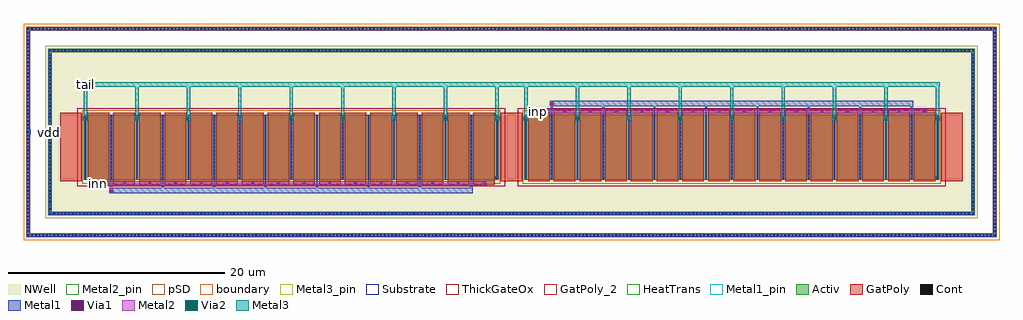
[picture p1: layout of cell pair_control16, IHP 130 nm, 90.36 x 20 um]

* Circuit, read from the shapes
.subckt pair_control16 fn fp inn inp tail vdd vss
XM1 fn inn tail vdd sg13_hv_pmos w=6u l=2u m=16
XM2 fp inp tail vdd sg13_hv_pmos w=6u l=2u m=16
.ends

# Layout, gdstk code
import gdstk
lib = gdstk.Library(unit=1e-6, precision=1e-09)
def R(c, l, rs):  # rectangles x0, y0, x1, y1
    for r in rs: c.add(gdstk.rectangle(r[:2], r[2:], *l))
def A(c, l, x, y, w, h, nx, ny, dx, dy):  # array of equal rectangles
    R(c, l, [(x+i*dx, y+j*dy, x+i*dx+w, y+j*dy+h) for i in range(nx) for j in range(ny)])
def P(c, l, *ps):  # polygons
    for p in ps: c.add(gdstk.Polygon(p, *l))
Activ = (1, 0)
GatPoly = (5, 0)
GatPoly_2 = (5, 2)
Cont = (6, 0)
Metal1 = (8, 0)
Metal1_pin = (8, 2)
Metal2 = (10, 0)
Metal2_pin = (10, 2)
pSD = (14, 0)
Via1 = (19, 0)
Via2 = (29, 0)
Metal3 = (30, 0)
Metal3_pin = (30, 2)
NWell = (31, 0)
Substrate = (40, 0)
ThickGateOx = (44, 0)
HeatTrans = (51, 0)
boundary = (189, 4)

pmoshv_1 = lib.new_cell('pmosHV$1')
A(pmoshv_1, Activ, 0, 0, 0.3, 0.3, 17, 1, 2.38, 0)
R(pmoshv_1, Activ, [(0,0,38.38,6)])
A(pmoshv_1, GatPoly, 0.34, -0.18, 2, 6.36, 16, 1, 2.38, 0)
R(pmoshv_1, GatPoly_2, [(0.34,-0.18,2.34,6.18)])
A(pmoshv_1, Cont, 0.07, 0.07, 0.16, 0.16, 17, 4, 2.38, 0.355)
A(pmoshv_1, Cont, 0.07, 1.495, 0.16, 0.16, 17, 4, 2.38, 0.355)
A(pmoshv_1, Cont, 0.07, 2.92, 0.16, 0.16, 17, 4, 2.38, 0.355)
A(pmoshv_1, Cont, 0.07, 4.345, 0.16, 0.16, 17, 4, 2.38, 0.355)
A(pmoshv_1, Cont, 0.07, 5.77, 0.16, 0.16, 17, 1, 2.38, 0)
A(pmoshv_1, Metal1, 0.07, 0, 0.16, 6, 17, 1, 2.38, 0)
R(pmoshv_1, Metal1_pin, [(0.07,0,0.23,6), (2.45,0,2.61,6)])
R(pmoshv_1, pSD, [(-0.18,-0.4,38.56,6.4)])
R(pmoshv_1, NWell, [(-0.62,-0.62,39,6.62)])
R(pmoshv_1, Substrate, [(38.08,0,38.38,0.3)])
R(pmoshv_1, ThickGateOx, [(-0.62,-0.62,39,6.62)])
A(pmoshv_1, HeatTrans, 0.34, -0.18, 2, 6.36, 16, 1, 2.38, 0)
pmoshv_1.add(gdstk.Label('pmosHV', (1.34,3), layer=63, texttype=0))
pmoshv_1.add(gdstk.Label('pmos', (1.34,3), layer=51, texttype=0))
pmoshv_1.add(gdstk.Label('pmos', (3.72,3), layer=51, texttype=0))
pmoshv_1.add(gdstk.Label('pmos', (6.1,3), layer=51, texttype=0))
pmoshv_1.add(gdstk.Label('pmos', (8.48,3), layer=51, texttype=0))
pmoshv_1.add(gdstk.Label('pmos', (10.86,3), layer=51, texttype=0))
pmoshv_1.add(gdstk.Label('pmos', (13.24,3), layer=51, texttype=0))
pmoshv_1.add(gdstk.Label('pmos', (15.62,3), layer=51, texttype=0))
pmoshv_1.add(gdstk.Label('pmos', (18,3), layer=51, texttype=0))
pmoshv_1.add(gdstk.Label('pmos', (20.38,3), layer=51, texttype=0))
pmoshv_1.add(gdstk.Label('pmos', (22.76,3), layer=51, texttype=0))
pmoshv_1.add(gdstk.Label('pmos', (25.14,3), layer=51, texttype=0))
pmoshv_1.add(gdstk.Label('pmos', (27.52,3), layer=51, texttype=0))
pmoshv_1.add(gdstk.Label('pmos', (29.9,3), layer=51, texttype=0))
pmoshv_1.add(gdstk.Label('pmos', (32.28,3), layer=51, texttype=0))
pmoshv_1.add(gdstk.Label('pmos', (34.66,3), layer=51, texttype=0))
pmoshv_1.add(gdstk.Label('pmos', (37.04,3), layer=51, texttype=0))

pair_control16 = lib.new_cell('pair_control16')
P(pair_control16, Activ, [(-3.3,-3.3),(-3.3,11.8),(-3,11.8),(-3,-3),(82.16,-3),(82.16,11.8),(-3.3,11.8),(-3.3,12.1),(82.46,12.1),(82.46,-3.3)],
  [(-5.3,-5.3),(-5.3,13.8),(-5,13.8),(-5,-5),(84.16,-5),(84.16,13.8),(-5.3,13.8),(-5.3,14.1),(84.46,14.1),(84.46,-5.3)])
A(pair_control16, GatPoly, 0.34, -0.48, 2, 0.38, 16, 1, 2.38, 0)
A(pair_control16, GatPoly, 41.12, 6.1, 2, 0.38, 16, 1, 2.38, 0)
R(pair_control16, GatPoly, [(-2.2,-0.18,-0.2,6.18), (38.58,-0.18,40.58,6.18), (38.58,-0.18,40.58,6.18), (79.36,-0.18,81.36,6.18)])
A(pair_control16, Cont, -4.87, -5.23, 0.16, 0.16, 262, 2, 0.34, 19.1)
A(pair_control16, Cont, -5.23, -4.86, 0.16, 0.16, 1, 55, 0, 0.34)
A(pair_control16, Cont, 84.23, -4.86, 0.16, 0.16, 1, 55, 0, 0.34)
A(pair_control16, Cont, -2.83, -3.23, 0.16, 0.16, 250, 2, 0.34, 15.1)
A(pair_control16, Cont, -3.23, -2.82, 0.16, 0.16, 1, 43, 0, 0.34)
A(pair_control16, Cont, 82.23, -2.82, 0.16, 0.16, 1, 43, 0, 0.34)
A(pair_control16, Cont, 1.26, -0.41, 0.16, 0.16, 16, 1, 2.38, 0)
A(pair_control16, Cont, 42.04, 6.25, 0.16, 0.16, 16, 1, 2.38, 0)
R(pair_control16, Cont, [(-5.23,-5.23,-5.07,-5.07), (84.23,-5.23,84.39,-5.07), (-3.23,-3.23,-3.07,-3.07), (82.23,-3.23,82.39,-3.07), (-3.23,11.87,-3.07,12.03), (82.23,11.87,82.39,12.03), (-5.23,13.87,-5.07,14.03), (84.23,13.87,84.39,14.03)])
A(pair_control16, Metal1, 2.45, -1.28, 0.16, 1.28, 8, 1, 4.76, 0)
A(pair_control16, Metal1, 1.19, -0.48, 0.3, 0.3, 16, 1, 2.38, 0)
A(pair_control16, Metal1, -0.05, 5.45, 0.4, 0.4, 9, 1, 4.76, 0)
A(pair_control16, Metal1, 40.73, 5.45, 0.4, 0.4, 9, 1, 4.76, 0)
A(pair_control16, Metal1, -0.02, 5.48, 0.34, 0.34, 9, 1, 4.76, 0)
A(pair_control16, Metal1, 40.76, 5.48, 0.34, 0.34, 9, 1, 4.76, 0)
A(pair_control16, Metal1, 43.23, 6, 0.16, 1.28, 8, 1, 4.76, 0)
A(pair_control16, Metal1, 41.97, 6.18, 0.3, 0.3, 16, 1, 2.38, 0)
R(pair_control16, Metal1, [(2.4,-1.28,35.98,-0.78), (2.33,-1.23,2.73,-0.83), (-5.35,4.2,-4.95,4.6), (-3.35,4.2,-2.95,4.6), (43.18,6.78,76.76,7.28), (43.11,6.83,43.51,7.23)])
P(pair_control16, Metal1, [(-3.28,-3.28),(-3.28,11.82),(-3.02,11.82),(-3.02,-3.02),(82.18,-3.02),(82.18,11.82),(-3.28,11.82),(-3.28,12.08),(82.44,12.08),(82.44,-3.28)],
  [(-5.28,-5.28),(-5.28,13.82),(-5.02,13.82),(-5.02,-5.02),(84.18,-5.02),(84.18,13.82),(-5.28,13.82),(-5.28,14.08),(84.44,14.08),(84.44,-5.28)])
R(pair_control16, Metal1_pin, [(-5.35,4.2,-4.95,4.6), (-3.35,4.2,-2.95,4.6)])
A(pair_control16, Metal2, 1.14, -0.52, 0.4, 0.38, 16, 1, 2.38, 0)
A(pair_control16, Metal2, 41.92, 6.14, 0.4, 0.38, 16, 1, 2.38, 0)
R(pair_control16, Metal2, [(2.33,-1.23,2.73,-0.83), (2.33,-1.23,2.73,-0.83), (2.33,-1.23,2.73,-0.83), (1.14,-0.53,1.54,-0.13), (1.15,-0.52,37.23,-0.14), (1.15,-0.52,37.23,-0.14), (-0.05,5.45,0.35,5.85), (-0.05,5.45,0.35,5.85), (4.71,5.45,5.11,5.85), (4.71,5.45,5.11,5.85), (9.47,5.45,9.87,5.85), (9.47,5.45,9.87,5.85), (14.23,5.45,14.63,5.85), (14.23,5.45,14.63,5.85), (18.99,5.45,19.39,5.85), (18.99,5.45,19.39,5.85), (23.75,5.45,24.15,5.85), (23.75,5.45,24.15,5.85), (28.51,5.45,28.91,5.85), (28.51,5.45,28.91,5.85), (33.27,5.45,33.67,5.85), (33.27,5.45,33.67,5.85), (38.03,5.45,38.43,5.85), (38.03,5.45,38.43,5.85), (40.73,5.45,41.13,5.85), (40.73,5.45,41.13,5.85), (45.49,5.45,45.89,5.85), (45.49,5.45,45.89,5.85), (50.25,5.45,50.65,5.85), (50.25,5.45,50.65,5.85), (55.01,5.45,55.41,5.85), (55.01,5.45,55.41,5.85), (59.77,5.45,60.17,5.85), (59.77,5.45,60.17,5.85), (64.53,5.45,64.93,5.85), (64.53,5.45,64.93,5.85), (69.29,5.45,69.69,5.85), (69.29,5.45,69.69,5.85), (74.05,5.45,74.45,5.85), (74.05,5.45,74.45,5.85), (78.81,5.45,79.21,5.85), (78.81,5.45,79.21,5.85), (41.92,6.13,42.32,6.53), (41.93,6.14,78.01,6.52), (41.93,6.14,78.01,6.52), (43.11,6.83,43.51,7.23), (43.11,6.83,43.51,7.23), (43.11,6.83,43.51,7.23)])
R(pair_control16, Metal2_pin, [(2.33,-1.23,2.73,-0.83), (1.14,-0.53,1.54,-0.13), (41.92,6.13,42.32,6.53), (43.11,6.83,43.51,7.23)])
P(pair_control16, pSD, [(-5.33,-5.33),(-5.33,13.77),(-4.97,13.77),(-4.97,-4.97),(84.13,-4.97),(84.13,13.77),(-5.33,13.77),(-5.33,14.13),(84.49,14.13),(84.49,-5.33)])
A(pair_control16, Via1, 1.245, -0.425, 0.19, 0.19, 16, 1, 2.38, 0)
A(pair_control16, Via1, 0.055, 5.555, 0.19, 0.19, 9, 1, 4.76, 0)
A(pair_control16, Via1, 40.835, 5.555, 0.19, 0.19, 9, 1, 4.76, 0)
A(pair_control16, Via1, 42.025, 6.235, 0.19, 0.19, 16, 1, 2.38, 0)
R(pair_control16, Via1, [(2.435,-1.125,2.625,-0.935), (43.215,6.935,43.405,7.125)])
A(pair_control16, Via2, 0.055, 5.555, 0.19, 0.19, 9, 1, 4.76, 0)
A(pair_control16, Via2, 40.835, 5.555, 0.19, 0.19, 9, 1, 4.76, 0)
A(pair_control16, Metal3, -0.05, 5.45, 0.4, 0.4, 9, 1, 4.76, 0)
A(pair_control16, Metal3, 40.73, 5.45, 0.4, 0.4, 9, 1, 4.76, 0)
A(pair_control16, Metal3, 0, 5.5, 0.3, 3.45, 9, 1, 4.76, 0)
A(pair_control16, Metal3, 40.78, 5.5, 0.3, 3.45, 9, 1, 4.76, 0)
R(pair_control16, Metal3, [(-0.05,8.6,0.35,9), (-0.05,8.6,79.21,9)])
R(pair_control16, Metal3_pin, [(-0.05,8.6,0.35,9)])
R(pair_control16, NWell, [(-3.6,-3.6,82.76,12.4)])
R(pair_control16, boundary, [(-5.6,-5.6,84.76,14.4)])
pair_control16.add(gdstk.Reference(pmoshv_1, (0,0)))
pair_control16.add(gdstk.Reference(pmoshv_1, (40.78,0)))
pair_control16.add(gdstk.Label('vdd', (-3.15,4.4), layer=8, texttype=25))
pair_control16.add(gdstk.Label('vss', (-5.15,4.4), layer=8, texttype=25))
pair_control16.add(gdstk.Label('inn', (1.34,-0.33), layer=10, texttype=25))
pair_control16.add(gdstk.Label('inp', (42.12,6.33), layer=10, texttype=25))
pair_control16.add(gdstk.Label('fn', (2.53,-1.03), layer=10, texttype=25))
pair_control16.add(gdstk.Label('fp', (43.31,7.03), layer=10, texttype=25))
pair_control16.add(gdstk.Label('tail', (0.15,8.8), layer=30, texttype=25))

lib.write_gds('pair_control16.gds')
